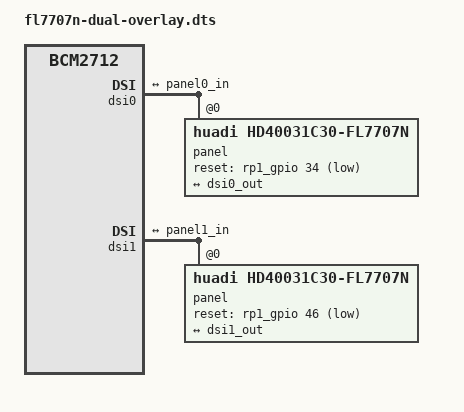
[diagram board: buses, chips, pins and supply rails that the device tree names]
/dts-v1/;
/plugin/;

/ {
	compatible = "brcm,bcm2712";

	/* 同一根 CAM_IO0 作为面板复位，不能再交给相机稳压器驱动。 */
	fragment@0 {
		target = <&cam0_reg>;
		__overlay__ { status = "disabled"; };
	};
	fragment@1 {
		target = <&cam1_reg>;
		__overlay__ { status = "disabled"; };
	};
	fragment@2 {
		target = <&dsi0>;
		__overlay__ {
			status = "okay";
			#address-cells = <1>;
			#size-cells = <0>;
			port {
				dsi0_out: endpoint { remote-endpoint = <&panel0_in>; };
			};
			panel@0 {
				compatible = "huadi,hd40031c30-fl7707n";
				reg = <0>;
				reset-gpios = <&rp1_gpio 34 1>;
				port {
					panel0_in: endpoint {
						remote-endpoint = <&dsi0_out>;
						data-lanes = <1 2>;
					};
				};
			};
		};
	};
	fragment@3 {
		target = <&dsi1>;
		__overlay__ {
			status = "okay";
			#address-cells = <1>;
			#size-cells = <0>;
			port {
				dsi1_out: endpoint { remote-endpoint = <&panel1_in>; };
			};
			panel@0 {
				compatible = "huadi,hd40031c30-fl7707n";
				reg = <0>;
				reset-gpios = <&rp1_gpio 46 1>;
				port {
					panel1_in: endpoint {
						remote-endpoint = <&dsi1_out>;
						data-lanes = <1 2>;
					};
				};
			};
		};
	};
};
